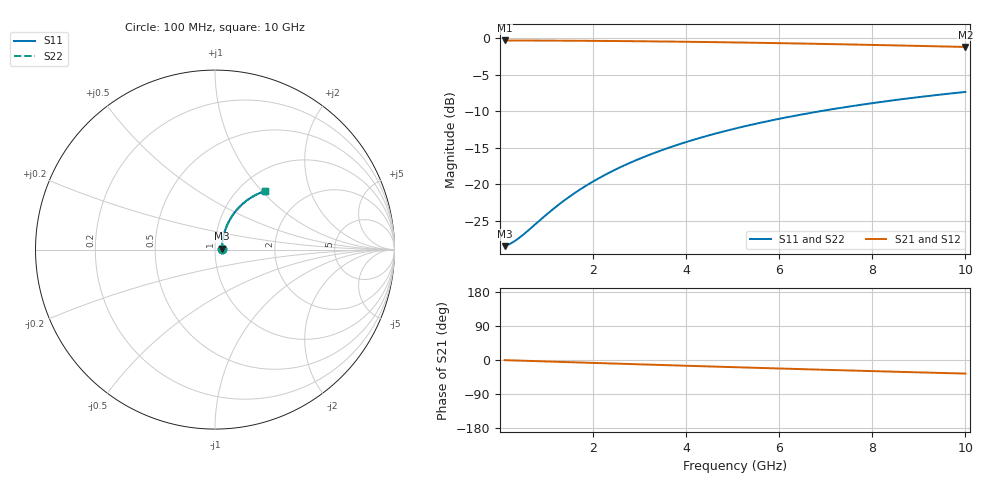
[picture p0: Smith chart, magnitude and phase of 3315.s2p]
# Hz S RI R 50.00
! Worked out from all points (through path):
!   100 points, 100 MHz to 10 GHz, reference 50 ohm
!   highest |S21| = -0.33 dB at 100 MHz (marker M1); lowest = -1.2 dB at 10 GHz (marker M2)
!   group delay of S21, straight-line fit = 9.99 ps
!   lowest |S11| = -28.4 dB at 100 MHz (marker M3), VSWR 1.08, Z = 53.9 + j0.501 ohm
!   |S11| at or under -10 dB: start of sweep to 6.885 GHz
!   |S22| runs from -28.4 to -7.4 dB; largest |S21 - S12| = 0
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1e8  0.0375 0.00464  0.9625 -0.00645  0.9625 -0.00645  0.0375 0.00464
2e8  0.0379 0.00927  0.9621 -0.0129  0.9621 -0.0129  0.0379 0.00927
3e8  0.0382 0.0139  0.9618 -0.0193  0.9618 -0.0193  0.0382 0.0139
4e8  0.0386 0.0185  0.9614 -0.0258  0.9614 -0.0258  0.0386 0.0185
6e8  0.0394 0.0278  0.9605 -0.0386  0.9605 -0.0386  0.0394 0.0278
1e9  0.0417 0.0461  0.9581 -0.0642  0.9581 -0.0642  0.0417 0.0461
1.2e9  0.0432 0.0552  0.9565 -0.0769  0.9565 -0.0769  0.0432 0.0552
1.5e9  0.0459 0.0688  0.9537 -0.0959  0.9537 -0.0959  0.0459 0.0688
1.8e9  0.0491 0.0822  0.9504 -0.1148  0.9504 -0.1148  0.0491 0.0822
2.1e9  0.0527 0.0955  0.9465 -0.1335  0.9465 -0.1335  0.0527 0.0955
2.5e9  0.0584 0.1128  0.9405 -0.1581  0.9405 -0.1581  0.0584 0.1128
2.9e9  0.065 0.1298  0.9336 -0.1823  0.9336 -0.1823  0.065 0.1298
3.4e9  0.0744 0.1503  0.9237 -0.2119  0.9237 -0.2119  0.0744 0.1503
3.8e9  0.0827 0.1662  0.9148 -0.2351  0.9148 -0.2351  0.0827 0.1662
4.2e9  0.0919 0.1815  0.9051 -0.2576  0.9051 -0.2576  0.0919 0.1815
4.6e9  0.1017 0.1962  0.8947 -0.2796  0.8947 -0.2796  0.1017 0.1962
5.1e9  0.1149 0.2137  0.8806 -0.3063  0.8806 -0.3063  0.1149 0.2137
5.9e9  0.138 0.2395  0.8561 -0.3467  0.8561 -0.3467  0.138 0.2395
6.7e9  0.1629 0.2624  0.8294 -0.3843  0.8294 -0.3843  0.1629 0.2624
7.5e9  0.1895 0.2824  0.8009 -0.419  0.8009 -0.419  0.1895 0.2824
8.4e9  0.2207 0.3012  0.7671 -0.4545  0.7671 -0.4545  0.2207 0.3012
1e10  0.2783 0.3255  0.7044 -0.5086  0.7044 -0.5086  0.2783 0.3255
